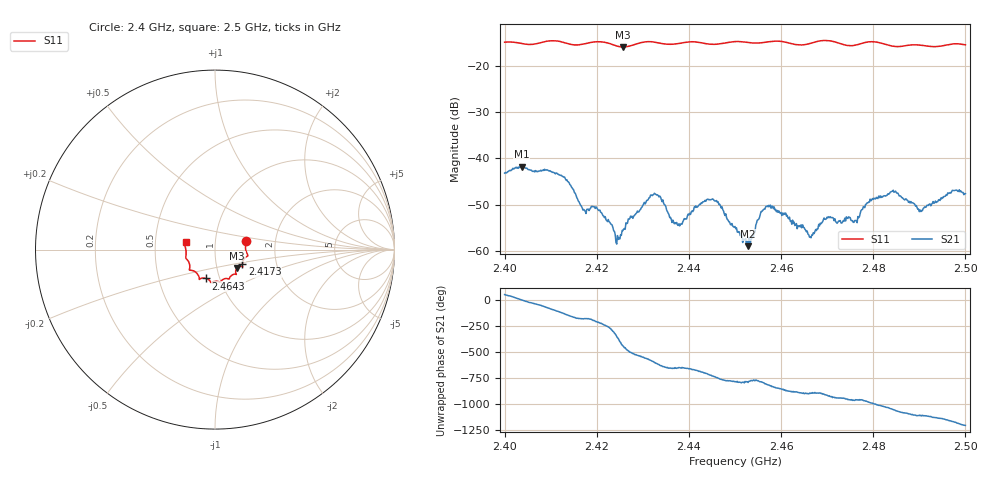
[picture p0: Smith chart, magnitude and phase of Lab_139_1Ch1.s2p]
# Hz S RI R 50
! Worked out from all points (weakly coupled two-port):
!   601 points, 2.4 GHz to 2.5 GHz, reference 50 ohm
!   highest |S21| = -41.78 dB at 2.4037 GHz (marker M1); lowest = -59.0 dB at 2.4528 GHz (marker M2)
!   lowest |S11| = -15.9 dB at 2.4257 GHz (marker M3), VSWR 1.38, Z = 62.5 - j13.1 ohm
!   |S11| at or under -10 dB: start of sweep to end of sweep
!   S12 and S22 are empty: the file has one direction only
!   S11 on the Smith chart (normalised r, x): 2.4 GHz: 1.41, +0.14; 2.4173 GHz: 1.34, -0.23; 2.4643 GHz: 0.86, -0.28; 2.5 GHz: 0.72, +0.06
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2.4e9  0.1733 0.0493  0.00445 0.00533  0 0  0 0
2.403667e9  0.1724 0.0282  0.00814 -1.63e-05  0 0  0 0
2.4125e9  0.177 -0.0385  -0.00386 -0.00513  0 0  0 0
2.416667e9  0.1529 -0.0747  -0.00306 2.81e-05  0 0  0 0
2.417333e9  0.1521 -0.0822  -0.00276 -2.38e-05  0 0  0 0
2.420333e9  0.1543 -0.0972  -0.00226 0.00158  0 0  0 0
2.4245e9  0.132 -0.0956  0.00147 -7.03e-05  0 0  0 0
2.425667e9  0.1228 -0.1023  0.000287 -0.00163  0 0  0 0
2.433333e9  0.1127 -0.1369  -0.000816 0.0039  0 0  0 0
2.437167e9  0.0865 -0.1496  0.000793 0.0018  0 0  0 0
2.444833e9  0.0569 -0.1614  0.0036 -0.000137  0 0  0 0
2.45e9  0.0294 -0.1807  0.000791 -0.00166  0 0  0 0
2.452833e9  0.0183 -0.1778  0.000368 -0.00107  0 0  0 0
2.457167e9  -0.0145 -0.1812  -0.000196 -0.00299  0 0  0 0
2.464333e9  -0.0498 -0.1606  -0.00188 -0.000355  0 0  0 0
2.466667e9  -0.0759 -0.1595  -0.00148 -0.000159  0 0  0 0
2.469833e9  -0.0878 -0.1663  -0.00219 0.000424  0 0  0 0
2.476e9  -0.1161 -0.1197  -0.000981 0.00189  0 0  0 0
2.478833e9  -0.1398 -0.1153  -0.000845 0.00321  0 0  0 0
2.483333e9  -0.1406 -0.0899  0.00273 0.00305  0 0  0 0
2.490167e9  -0.1624 -0.0401  0.00244 -0.00132  0 0  0 0
2.5e9  -0.1635 0.0418  -0.0022 -0.00354  0 0  0 0
